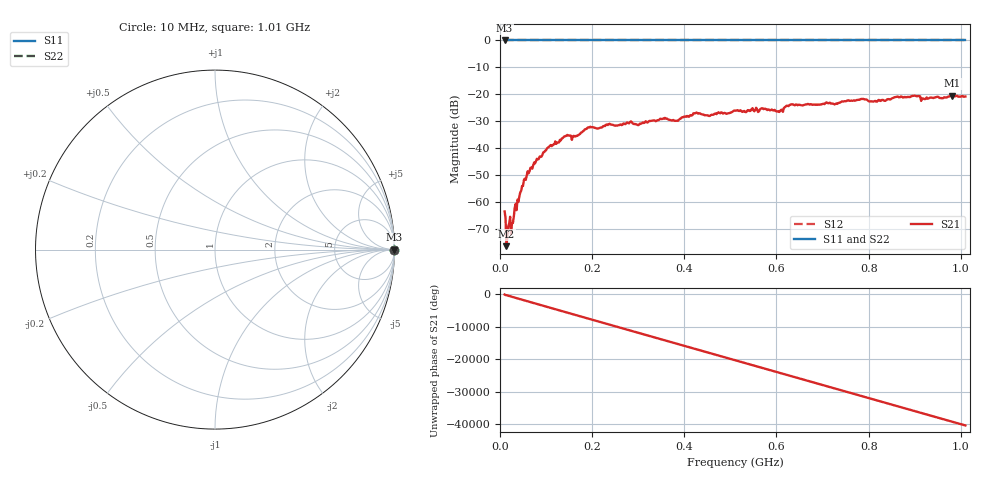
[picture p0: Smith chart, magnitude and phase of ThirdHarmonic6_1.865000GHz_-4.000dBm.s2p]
! 8/16/2025 10:32:48 PM
! C:\ANRITSUVNA\TEMP\TEMP.S2P
! CHANNEL.1
! TR.MEASUREMENT
! RAW.DATA
! RF.CORRECTION.OFF
! AVERAGING.OFF
! IF.BANDWIDTH: 5KHZ
! SWEEPTYPE:  FREQ.SWEEP(Linear)
! Reference Plane Port Info
! PORT:  PORT1  PORT2
! DISTANCE:  0  m  0  m
! TIME:  0  s  0  s
! PHASE.OFFSET:  0  deg.  0  deg.
! LOSS:  0  dB  0  dB
! REF.LOSS:  0  dB  0  dB
! REF.FREQ:  0  Hz  0  Hz
! Power Info
! POWER:  -20  dBm  -20  dBm
! EFF.POWER:  -20  dBm  -20  dBm
! SOURCE.ATTEN:  0  dB  0  dB
! TEST.ATTEN:  0  dB  0  dB
# GHZ S RI R 50.0
! FREQ.GHZ  S11RE  S11IM  S21RE  S21IM  S12RE  S12IM  S22RE  S22IM
!; PortSelection: Port_12
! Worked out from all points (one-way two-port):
!   501 points, 10 MHz to 1.01 GHz, reference 50 ohm
!   highest |S21| = -20.44 dB at 982 MHz (marker M1); lowest = -76.3 dB at 14 MHz (marker M2)
!   lowest |S11| = 0.0 dB at 10 MHz (marker M3)
!   |S11| at or under -10 dB: nowhere
!   |S22| runs from 0.0 to 0.0 dB; largest |S21 - S12| = 1.1
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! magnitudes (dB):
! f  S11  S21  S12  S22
! 10 MHz  0.0  -63.4  0.0  0.0
! 14 MHz  0.0  -76.3  0.0  0.0
! 18 MHz  0.0  -68.9  0.0  0.0
! 28 MHz  0.0  -67.7  0.0  0.0
! 34 MHz  0.0  -60.6  0.0  0.0
! 50 MHz  0.0  -53.9  0.0  0.0
! 78 MHz  0.0  -44.8  0.0  0.0
! 106 MHz  0.0  -39.5  0.0  0.0
! 142 MHz  0.0  -35.5  0.0  0.0
! 178 MHz  0.0  -34.1  0.0  0.0
! 194 MHz  0.0  -32.3  0.0  0.0
! 344 MHz  0.0  -29.6  0.0  0.0
! 382 MHz  0.0  -29.8  0.0  0.0
! 424 MHz  0.0  -27.0  0.0  0.0
! 454 MHz  0.0  -28.0  0.0  0.0
! 510 MHz  0.0  -26.0  0.0  0.0
! 604 MHz  0.0  -26.3  0.0  0.0
! 632 MHz  0.0  -23.7  0.0  0.0
! 678 MHz  0.0  -23.9  0.0  0.0
! 844 MHz  0.0  -21.8  0.0  0.0
! 982 MHz  0.0  -20.4  0.0  0.0
! 1.01 GHz  0.0  -20.8  0.0  0.0
